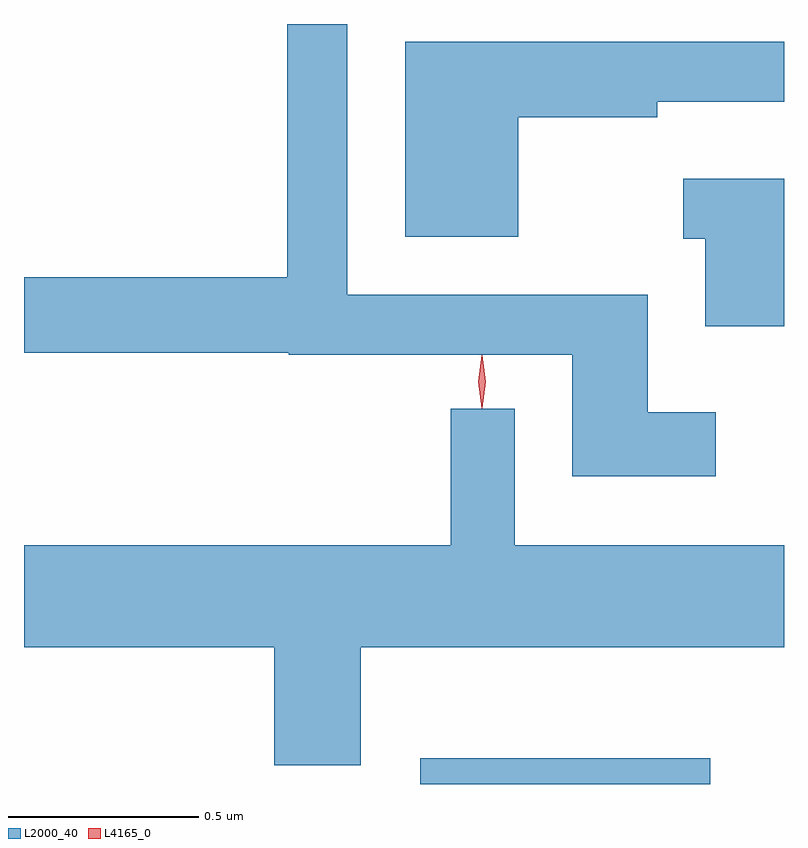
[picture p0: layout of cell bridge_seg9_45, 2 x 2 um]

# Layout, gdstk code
import gdstk
lib = gdstk.Library(unit=1e-6, precision=1e-09)
def R(c, l, rs):  # rectangles x0, y0, x1, y1
    for r in rs: c.add(gdstk.rectangle(r[:2], r[2:], *l))
def P(c, l, *ps):  # polygons
    for p in ps: c.add(gdstk.Polygon(p, *l))
L2000_40 = (2000, 40)
L4165_0 = (4165, 0)

bridge_seg9_45 = lib.new_cell('bridge_seg9_45')
R(bridge_seg9_45, L2000_40, [(1699.706,1987.016,1700.469,1987.084)])
P(bridge_seg9_45, L2000_40, [(1700.483,1987.994),(1700.304,1987.994),(1700.304,1988.304),(1699.514,1988.304),(1699.514,1989.016),(1699.356,1989.016),(1699.356,1988.349),(1698.663,1988.349),(1698.663,1988.151),(1699.36,1988.151),(1699.36,1988.146),(1700.106,1988.146),(1700.106,1987.826),(1700.483,1987.826)],
  [(1699.964,1988.771),(1700.329,1988.771),(1700.329,1988.811),(1700.663,1988.811),(1700.663,1988.969),(1699.666,1988.969),(1699.666,1988.456),(1699.964,1988.456)],
  [(1700.663,1988.609),(1700.398,1988.609),(1700.398,1988.451),(1700.456,1988.451),(1700.456,1988.221),(1700.663,1988.221)],
  [(1699.549,1987.376),(1700.663,1987.376),(1700.663,1987.644),(1699.954,1987.644),(1699.954,1988.003),(1699.786,1988.003),(1699.786,1987.644),(1698.663,1987.644),(1698.663,1987.376),(1699.321,1987.376),(1699.321,1987.066),(1699.549,1987.066)])
P(bridge_seg9_45, L4165_0, [(1699.868,1988.004),(1699.868,1988.005),(1699.858,1988.074),(1699.868,1988.144),(1699.868,1988.144),(1699.869,1988.144),(1699.878,1988.074),(1699.869,1988.005)])

lib.write_gds('bridge_seg9_45.gds')
